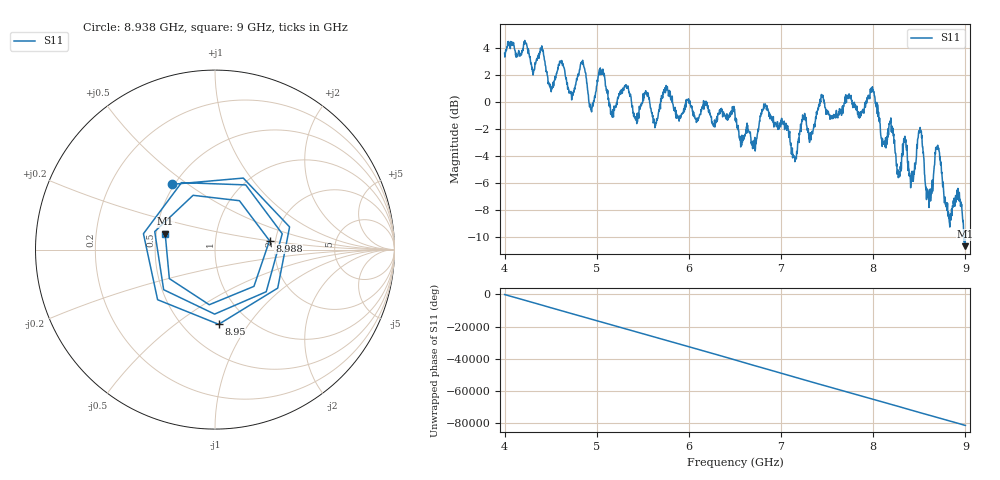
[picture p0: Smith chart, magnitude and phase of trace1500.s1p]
! Created with skrf 1.8.0 (http://scikit-rf.org).
# Hz S RI R 50.0
!freq ReS11 ImS11
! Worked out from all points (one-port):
!   1601 points, 4 GHz to 9 GHz, reference 50 ohm
!   lowest |S11| = -10.7 dB at 9 GHz (marker M1), VSWR 1.82, Z = 27.9 + j5.37 ohm
!   |S11| at or under -10 dB: 8.982354 GHz to end of sweep
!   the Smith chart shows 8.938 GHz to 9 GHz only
!   S11 on the Smith chart (normalised r, x): 8.938 GHz: 0.48, +0.43; 8.95 GHz: 0.73, -0.73; 8.988 GHz: 1.86, +0.20; 9 GHz: 0.56, +0.11
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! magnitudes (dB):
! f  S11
! 4 GHz  3.6
! 4.509 GHz  1.0
! 4.625 GHz  3.0
! 4.725 GHz  0.6
! 4.847 GHz  3.1
! 4.938 GHz  -0.5
! 5.044 GHz  2.3
! 5.159 GHz  -1.0
! 5.25 GHz  0.7
! 5.875 GHz  -1.1
! 6.5 GHz  -0.9
! 6.706 GHz  -3.4
! 6.838 GHz  -0.3
! 7.125 GHz  -4.2
! 7.434 GHz  0.5
! 7.75 GHz  0.4
! 7.994 GHz  1.0
! 8.106 GHz  -3.1
! 8.375 GHz  -4.6
! 8.428 GHz  -5.7
! 8.506 GHz  -2.3
! 8.597 GHz  -7.0
! 8.694 GHz  -3.3
! 8.816 GHz  -8.2
! 8.938 GHz  -7.2
! 8.95 GHz  -7.6
! 8.988 GHz  -10.2
! 9 GHz  -10.7
